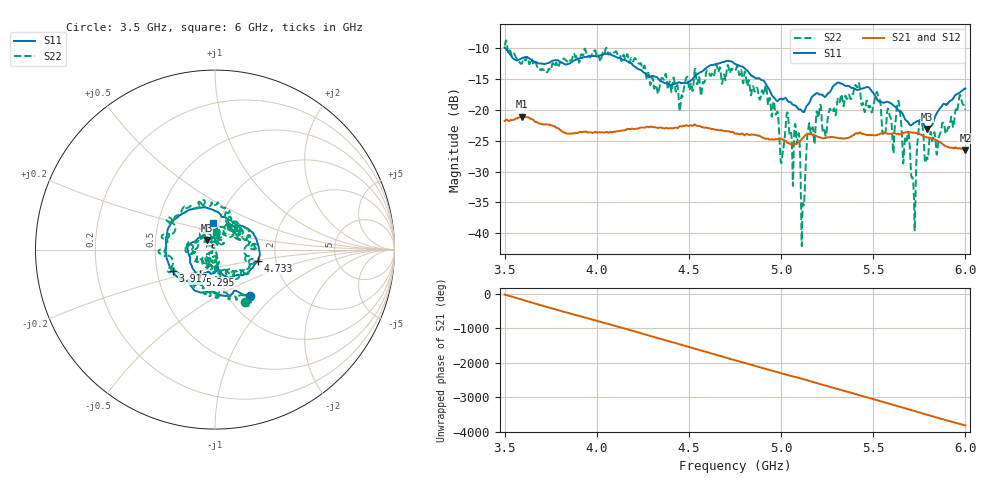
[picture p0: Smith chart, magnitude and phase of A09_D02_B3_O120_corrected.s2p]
! Created with skrf 1.9.0 (http://scikit-rf.org).
# Hz S RI R 50.0
!freq ReS11 ImS11 ReS21 ImS21 ReS12 ImS12 ReS22 ImS22
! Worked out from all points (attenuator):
!   1601 points, 3.5 GHz to 6 GHz, reference 50 ohm
!   highest |S21| = -21.09 dB at 3.592 GHz (marker M1); lowest = -26.5 dB at 6 GHz (marker M2)
!   lowest |S11| = -23.1 dB at 5.791 GHz (marker M3), VSWR 1.15, Z = 45.5 + j4.96 ohm
!   |S11| at or under -10 dB: 3.505 GHz to end of sweep
!   |S22| runs from -42.1 to -8.7 dB; largest |S21 - S12| = 0.001
!   S11 on the Smith chart (normalised r, x): 3.5 GHz: 1.26, -0.72; 3.917 GHz: 0.60, -0.15; 4.733 GHz: 1.61, -0.22; 5.295 GHz: 0.81, -0.23; 6 GHz: 0.94, +0.29
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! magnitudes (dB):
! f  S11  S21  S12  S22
! 3.5 GHz  -9.9  -21.8  -21.8  -9.5
! 3.592 GHz  -11.6  -21.1  -21.1  -12.5
! 3.917 GHz  -11.6  -23.6  -23.6  -10.9
! 4.334 GHz  -14.9  -22.9  -22.8  -17.2
! 4.733 GHz  -12.1  -23.6  -23.6  -13.4
! 4.75 GHz  -12.5  -23.8  -23.7  -13.6
! 4.969 GHz  -18.2  -24.8  -24.7  -20.5
! 5.003 GHz  -18.2  -24.7  -24.7  -28.2
! 5.031 GHz  -18.3  -25.2  -25.1  -20.5
! 5.086 GHz  -19.5  -25.5  -25.4  -25.4
! 5.119 GHz  -20.3  -24.5  -24.4  -35.1
! 5.145 GHz  -19.1  -23.9  -23.8  -23.5
! 5.167 GHz  -17.9  -23.9  -23.9  -23.1
! 5.295 GHz  -15.8  -24.5  -24.4  -20.9
! 5.412 GHz  -16.7  -23.8  -23.8  -16.3
! 5.584 GHz  -18.7  -23.8  -23.8  -20.1
! 5.611 GHz  -19.3  -23.7  -23.6  -26.5
! 5.639 GHz  -20.2  -23.9  -23.9  -18.8
! 5.719 GHz  -22.2  -23.7  -23.6  -32.8
! 5.755 GHz  -21.9  -23.9  -23.9  -21.6
! 5.791 GHz  -23.1  -24.5  -24.4  -27.7
! 6 GHz  -16.5  -26.5  -26.4  -20.0
